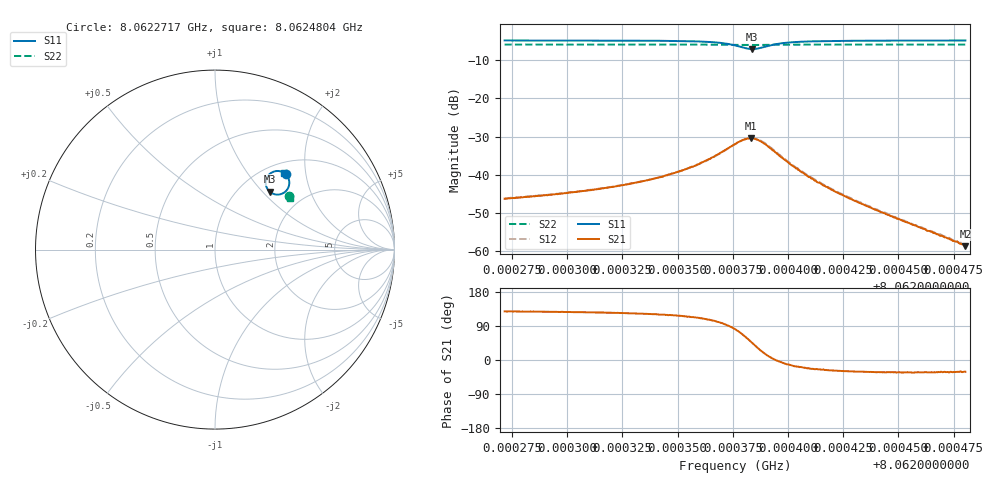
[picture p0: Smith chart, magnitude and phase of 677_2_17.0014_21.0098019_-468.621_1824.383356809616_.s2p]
#  HZ  S  RI  R  50.00
! Rohde & Schwarz Vector Network Analyzer
! Rohde-Schwarz,ZNB20-2Port,1311601062101988,3.16
! Created: UTC 3/20/2024, 11:22:24 PM
! freq[Hz]  re:S11  im:S11  re:S21  im:S21  re:S12  im:S12  re:S22  im:S22
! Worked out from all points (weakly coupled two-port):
!   401 points, 8.0622717 GHz to 8.0624804 GHz, reference 50 ohm
!   highest |S21| = -30.46 dB at 8.0623833 GHz (marker M1); lowest = -58.8 dB at 8.0624804 GHz (marker M2)
!   lowest |S11| = -7.1 dB at 8.0623838 GHz (marker M3), VSWR 2.60, Z = 68.1 + j54.9 ohm
!   |S11| at or under -10 dB: nowhere
!   |S22| runs from -6.0 to -5.9 dB; largest |S21 - S12| = 0.0011
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8.06227168e9  0.3954 0.4185  -0.00301 0.00379  -0.0028 0.00401  0.4139 0.2961
8.06229098e9  0.3981 0.4155  -0.00325 0.00427  -0.00301 0.00452  0.4146 0.295
8.06230663e9  0.4007 0.4122  -0.00359 0.0049  -0.0033 0.00515  0.4152 0.2941
8.06232594e9  0.4047 0.4062  -0.0041 0.00609  -0.00375 0.00639  0.4158 0.2928
8.06234159e9  0.409 0.3977  -0.00455 0.00796  -0.00416 0.00822  0.4163 0.2915
8.06235202e9  0.4122 0.3875  -0.00501 0.0102  -0.00433 0.0106  0.4168 0.2906
8.0623588e9  0.414 0.377  -0.00498 0.0126  -0.00431 0.0128  0.4168 0.2898
8.06236663e9  0.4122 0.3565  -0.00392 0.0168  -0.00303 0.017  0.4169 0.2883
8.06237184e9  0.403 0.3357  -0.00121 0.0213  -0.000303 0.0211  0.4164 0.2874
8.06237602e9  0.3827 0.3162  0.00378 0.0249  0.00471 0.0245  0.4153 0.2867
8.06238019e9  0.344 0.3065  0.0128 0.0259  0.0134 0.0255  0.4136 0.2864
8.06238332e9  0.3088 0.3193  0.0202 0.0222  0.0209 0.0218  0.4121 0.2872
8.06238384e9  0.3038 0.3236  0.0212 0.0212  0.0219 0.0207  0.412 0.2874
8.06238645e9  0.286 0.3503  0.0245 0.0147  0.0252 0.0141  0.4116 0.2887
8.06238854e9  0.2823 0.3732  0.0246 0.00943  0.0254 0.00887  0.4119 0.2898
8.0623948e9  0.3019 0.4191  0.0192 -0.000379  0.0196 -0.00122  0.4135 0.2915
8.06240262e9  0.3311 0.4358  0.0122 -0.00356  0.0124 -0.00401  0.4154 0.2914
8.06241097e9  0.3501 0.438  0.00812 -0.0035  0.00819 -0.00387  0.4166 0.2909
8.06242297e9  0.3647 0.4359  0.005 -0.00273  0.00495 -0.00307  0.4176 0.2901
8.06243131e9  0.3708 0.434  0.00379 -0.00227  0.00373 -0.00252  0.418 0.2894
8.06244592e9  0.3779 0.4311  0.00247 -0.00158  0.0024 -0.00176  0.4189 0.2885
8.06248035e9  0.3867 0.4259  0.000989 -0.000593  0.000999 -0.000653  0.4203 0.2865
